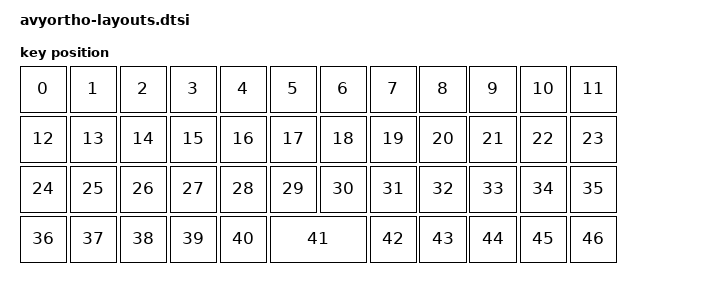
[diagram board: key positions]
#include <physical_layouts.dtsi>

/ {
    physical_layout_avyortho: physical_layout_avyortho {
        compatible = "zmk,physical-layout";
        display-name = "avyortho";
        keys  //                     w   h    x    y     rot    rx    ry
            = <&key_physical_attrs 100 100    0    0       0     0     0>
            , <&key_physical_attrs 100 100  100    0       0   100     0>
            , <&key_physical_attrs 100 100  200    0       0   200     0>
            , <&key_physical_attrs 100 100  300    0       0   300     0>
            , <&key_physical_attrs 100 100  400    0       0   400     0>
            , <&key_physical_attrs 100 100  500    0       0   500     0>
            , <&key_physical_attrs 100 100  600    0       0   600     0>
            , <&key_physical_attrs 100 100  700    0       0   700     0>
            , <&key_physical_attrs 100 100  800    0       0   800     0>
            , <&key_physical_attrs 100 100  900    0       0   900     0>
            , <&key_physical_attrs 100 100 1000    0       0  1000     0>
            , <&key_physical_attrs 100 100 1100    0       0  1100     0>
            , <&key_physical_attrs 100 100    0  100       0     0   100>
            , <&key_physical_attrs 100 100  100  100       0   100   100>
            , <&key_physical_attrs 100 100  200  100       0   200   100>
            , <&key_physical_attrs 100 100  300  100       0   300   100>
            , <&key_physical_attrs 100 100  400  100       0   400   100>
            , <&key_physical_attrs 100 100  500  100       0   500   100>
            , <&key_physical_attrs 100 100  600  100       0   600   100>
            , <&key_physical_attrs 100 100  700  100       0   700   100>
            , <&key_physical_attrs 100 100  800  100       0   800   100>
            , <&key_physical_attrs 100 100  900  100       0   900   100>
            , <&key_physical_attrs 100 100 1000  100       0  1000   100>
            , <&key_physical_attrs 100 100 1100  100       0  1100   100>
            , <&key_physical_attrs 100 100    0  200       0     0   200>
            , <&key_physical_attrs 100 100  100  200       0   100   200>
            , <&key_physical_attrs 100 100  200  200       0   200   200>
            , <&key_physical_attrs 100 100  300  200       0   300   200>
            , <&key_physical_attrs 100 100  400  200       0   400   200>
            , <&key_physical_attrs 100 100  500  200       0   500   200>
            , <&key_physical_attrs 100 100  600  200       0   600   200>
            , <&key_physical_attrs 100 100  700  200       0   700   200>
            , <&key_physical_attrs 100 100  800  200       0   800   200>
            , <&key_physical_attrs 100 100  900  200       0   900   200>
            , <&key_physical_attrs 100 100 1000  200       0  1000   200>
            , <&key_physical_attrs 100 100 1100  200       0  1100   200>
            , <&key_physical_attrs 100 100    0  300       0     0   300>
            , <&key_physical_attrs 100 100  100  300       0   100   300>
            , <&key_physical_attrs 100 100  200  300       0   200   300>
            , <&key_physical_attrs 100 100  300  300       0   300   300>
            , <&key_physical_attrs 100 100  400  300       0   400   300>
            , <&key_physical_attrs 200 100  500  300       0   500   300>
            , <&key_physical_attrs 100 100  700  300       0   700   300>
            , <&key_physical_attrs 100 100  800  300       0   800   300>
            , <&key_physical_attrs 100 100  900  300       0   900   300>
            , <&key_physical_attrs 100 100 1000  300       0  1000   300>
            , <&key_physical_attrs 100 100 1100  300       0  1100   300>
            ;
    };
};
